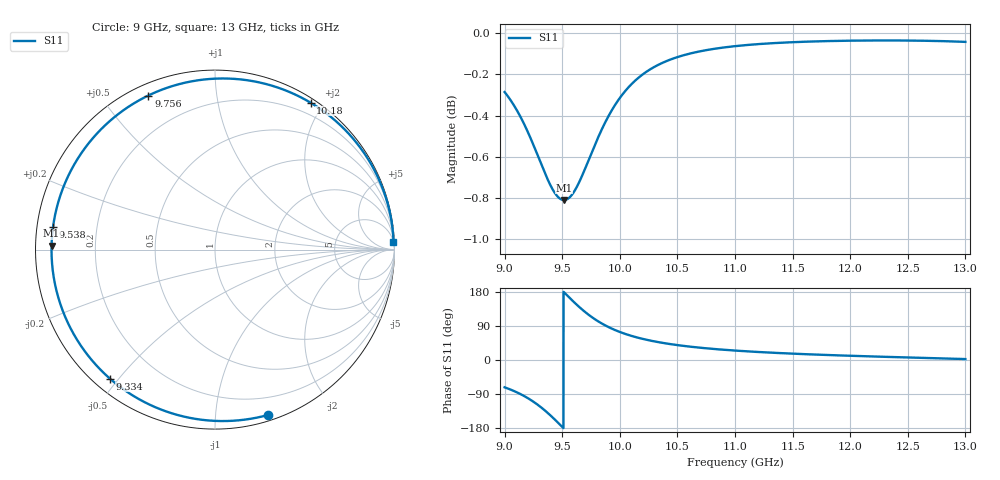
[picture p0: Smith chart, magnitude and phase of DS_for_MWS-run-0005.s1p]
! TOUCHSTONE file generated by CST DESIGN STUDIO
! Date and time: Tue Feb  4 13:32:33 2025
! Project name: C:\Work\MatlabApps\UnitCellOptimizationMatlab\CST\unitcell.cst
! Tree item: Tasks\Sweep1\SPara1\S-Parameters
! Header version: 2024
! Port assignment regex: !\s*Touchstone port\s*([0-9]+)\s*=\s*(CST MWS port|CST DES external port|CST DES block port)\s*(.+)\s* \(\"(.*)\"\)(\s*mode\s*([0-9]+))?.*
! Touchstone port assignment:
! Touchstone port 1 = CST DES external port 1 ("")
# GHz S MA R 50
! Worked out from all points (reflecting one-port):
!   4001 points, 9 GHz to 13 GHz, reference 50 ohm
!   lowest |S11| = -0.8 dB at 9.516 GHz (marker M1), VSWR 21.45, Z = 2.33 + j0.579 ohm
!   phase of S11 starts at -72 deg and turns -285 deg over the sweep
!   S11 on the Smith chart (normalised r, x): 9 GHz: 0.05, -1.37; 9.334 GHz: 0.05, -0.47; 9.538 GHz: 0.05, +0.07; 9.756 GHz: 0.05, +0.66; 10.18 GHz: 0.05, +1.84; 13 GHz: 5, +46
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9  0.9677 -72.1
9.09  0.9596 -83.0
9.194  0.9473 -99.3
9.267  0.937 -113.6
9.334  0.927 -129.2
9.379  0.9208 -141.0
9.425  0.9156 -153.9
9.463  0.9125 -165.2
9.5  0.9111 -176.4
9.516  0.9109 178.7
9.538  0.9112 171.9
9.592  0.9142 155.7
9.652  0.9207 138.8
9.703  0.9276 125.6
9.756  0.9354 113.4
9.806  0.9426 103.2
9.862  0.95 93.2
10  0.9645 74.0
10.087  0.971 64.9
10.182  0.9765 57.0
10.327  0.9823 47.6
10.5  0.9868 39.3
10.722  0.9903 31.7
11  0.9928 24.9
11.5  0.9951 16.7
12  0.9959 11.2
12.5  0.996 6.7
13  0.9952 2.5
